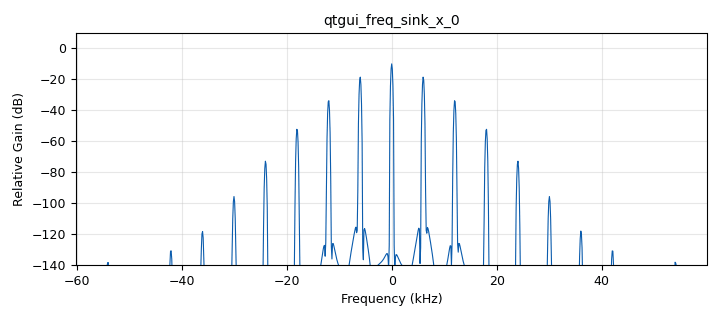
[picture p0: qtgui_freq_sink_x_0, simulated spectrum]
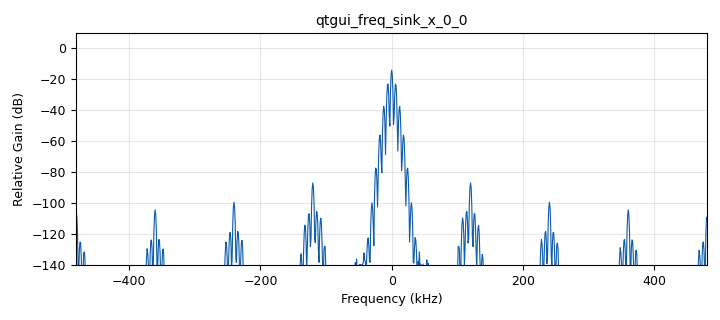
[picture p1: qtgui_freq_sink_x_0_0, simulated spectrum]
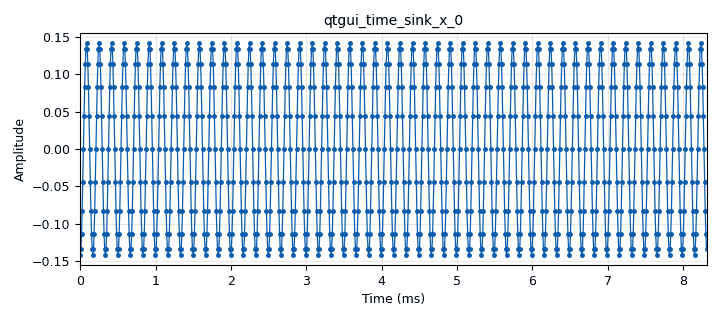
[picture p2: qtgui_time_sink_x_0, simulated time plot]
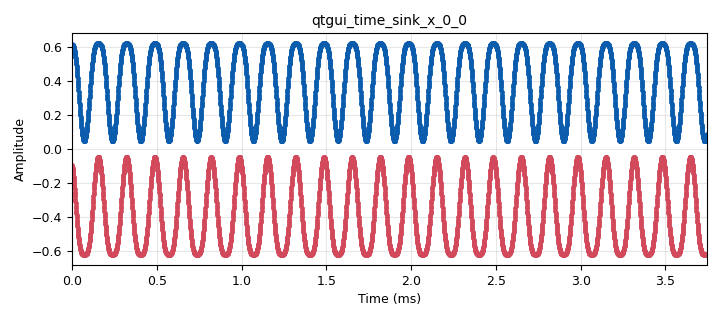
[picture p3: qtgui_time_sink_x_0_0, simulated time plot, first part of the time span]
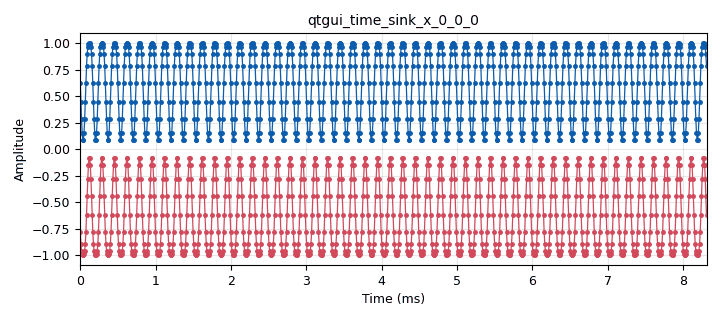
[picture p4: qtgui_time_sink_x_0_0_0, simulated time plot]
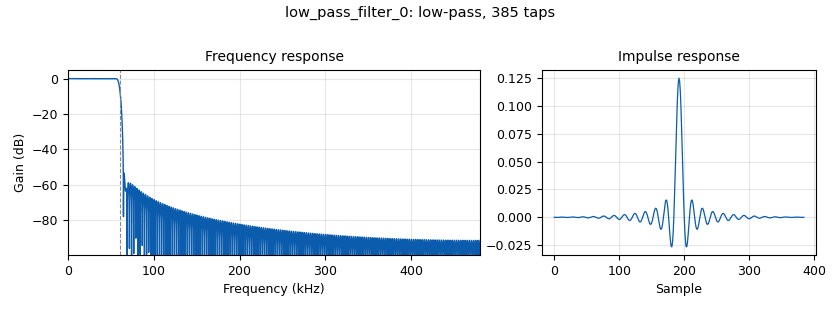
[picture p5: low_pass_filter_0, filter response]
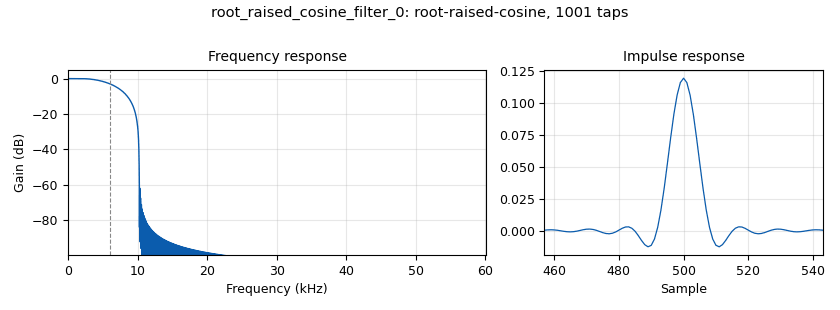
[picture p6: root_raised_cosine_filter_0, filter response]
<?xml version='1.0' encoding='utf-8'?>
<?grc format='1' created='3.7.13'?>
<flow_graph>
<block>
<key>options</key>
<param><key>id</key><value>telecommand_tx</value></param>
<param><key>generate_options</key><value>qt_gui</value></param>
</block>
<block>
<key>variable</key>
<param><key>id</key><value>bit_rate</value></param>
<param><key>value</key><value>12019</value></param>
</block>
<block>
<key>variable_qtgui_chooser</key>
<param><key>id</key><value>data_src</value></param>
<param><key>value</key><value>(0,1)</value></param>
<param><key>gui_hint</key><value>tab_ctrl@0</value></param>
<param><key>label0</key><value>Source</value></param>
<param><key>label1</key><value>Preamble</value></param>
<param><key>label</key><value>Data Source</value></param>
<param><key>num_opts</key><value>2</value></param>
<param><key>option0</key><value>(1,0)</value></param>
<param><key>option1</key><value>(0,1)</value></param>
<param><key>type</key><value>raw</value></param>
</block>
<block>
<key>variable_qtgui_range</key>
<param><key>id</key><value>fdev</value></param>
<param><key>value</key><value>bit_rate*rrc_inter/4</value></param>
<param><key>gui_hint</key><value>tab_ctrl@0</value></param>
<param><key>label</key><value>Frequency Deviation</value></param>
<param><key>min_len</key><value>1000</value></param>
<param><key>orient</key><value>Qt.Horizontal</value></param>
<param><key>start</key><value>100</value></param>
<param><key>step</key><value>1</value></param>
<param><key>stop</key><value>500000</value></param>
</block>
<block>
<key>variable</key>
<param><key>id</key><value>rrc_inter</value></param>
<param><key>value</key><value>10</value></param>
</block>
<block>
<key>variable_qtgui_range</key>
<param><key>id</key><value>tx_gain</value></param>
<param><key>value</key><value>1</value></param>
<param><key>gui_hint</key><value>tab_ctrl@0</value></param>
<param><key>label</key><value>TX Gain</value></param>
<param><key>min_len</key><value>1000</value></param>
<param><key>orient</key><value>Qt.Horizontal</value></param>
<param><key>start</key><value>0.01</value></param>
<param><key>step</key><value>0.01</value></param>
<param><key>stop</key><value>10</value></param>
</block>
<block>
<key>variable_qtgui_range</key>
<param><key>id</key><value>tx_gain2</value></param>
<param><key>value</key><value>5</value></param>
<param><key>gui_hint</key><value>tab_ctrl@0</value></param>
<param><key>label</key><value>TX Gain2</value></param>
<param><key>min_len</key><value>1000</value></param>
<param><key>orient</key><value>Qt.Horizontal</value></param>
<param><key>start</key><value>0.01</value></param>
<param><key>step</key><value>0.01</value></param>
<param><key>stop</key><value>10</value></param>
</block>
<block>
<key>analog_frequency_modulator_fc</key>
<param><key>id</key><value>analog_frequency_modulator_fc_0</value></param>
<param><key>sensitivity</key><value>fdev*6.28/(bit_rate*rrc_inter)</value></param>
</block>
<block>
<key>blocks_char_to_float</key>
<param><key>id</key><value>blocks_char_to_float_0</value></param>
<param><key>scale</key><value>1</value></param>
</block>
<block>
<key>blocks_char_to_float</key>
<param><key>id</key><value>blocks_char_to_float_1</value></param>
<param><key>_enabled</key><value>0</value></param>
<param><key>scale</key><value>1</value></param>
</block>
<block>
<key>blocks_char_to_float</key>
<param><key>id</key><value>blocks_char_to_float_1_0</value></param>
<param><key>scale</key><value>1</value></param>
</block>
<block>
<key>blocks_float_to_char</key>
<param><key>id</key><value>blocks_float_to_char_0</value></param>
<param><key>scale</key><value>1</value></param>
</block>
<block>
<key>blocks_multiply_const_vxx</key>
<param><key>id</key><value>blocks_multiply_const_vxx_0</value></param>
<param><key>const</key><value>tx_gain2</value></param>
<param><key>type</key><value>complex</value></param>
</block>
<block>
<key>blocks_multiply_const_vxx</key>
<param><key>id</key><value>blocks_multiply_const_vxx_0_0</value></param>
<param><key>const</key><value>tx_gain</value></param>
<param><key>type</key><value>float</value></param>
</block>
<block>
<key>blocks_repack_bits_bb</key>
<param><key>id</key><value>blocks_repack_bits_bb_0</value></param>
<param><key>k</key><value>8</value></param>
<param><key>l</key><value>1</value></param>
<param><key>endianness</key><value>gr.GR_MSB_FIRST</value></param>
</block>
<block>
<key>blocks_throttle</key>
<param><key>id</key><value>blocks_throttle_0</value></param>
<param><key>samples_per_second</key><value>bit_rate</value></param>
<param><key>type</key><value>byte</value></param>
</block>
<block>
<key>blocks_vector_source_x</key>
<param><key>id</key><value>blocks_vector_source_x_0</value></param>
<param><key>_enabled</key><value>0</value></param>
<param><key>type</key><value>byte</value></param>
<param><key>repeat</key><value>True</value></param>
<param><key>vector</key><value>[0xEB, 0x90, 0x3C] + range(0,251) + [0x55, 0x55, 0x55, 0x55]</value></param>
</block>
<block>
<key>blocks_vector_source_x</key>
<param><key>id</key><value>blocks_vector_source_x_0_0</value></param>
<param><key>type</key><value>byte</value></param>
<param><key>repeat</key><value>True</value></param>
<param><key>vector</key><value>[0x55, 0x55, 0x55, 0x55]</value></param>
</block>
<block>
<key>digital_map_bb</key>
<param><key>id</key><value>digital_map_bb_0</value></param>
<param><key>map</key><value>[-1,1]</value></param>
</block>
<block>
<key>iio_fmcomms2_sink</key>
<param><key>id</key><value>iio_fmcomms2_sink_0</value></param>
<param><key>attenuation1</key><value>10</value></param>
<param><key>buffer_size</key><value>0x8000</value></param>
<param><key>cyclic</key><value>False</value></param>
<param><key>auto_filter</key><value>True</value></param>
<param><key>uri</key><value>192.168.1.10</value></param>
<param><key>frequency</key><value>144100000</value></param>
<param><key>rf_port_select</key><value>"A"</value></param>
<param><key>bandwidth</key><value>100000</value></param>
<param><key>samplerate</key><value>bit_rate*rrc_inter*8</value></param>
<param><key>tx1_en</key><value>True</value></param>
<param><key>tx2_en</key><value>False</value></param>
</block>
<block>
<key>low_pass_filter</key>
<param><key>id</key><value>low_pass_filter_0</value></param>
<param><key>cutoff_freq</key><value>bit_rate*rrc_inter/2</value></param>
<param><key>type</key><value>interp_fir_filter_ccf</value></param>
<param><key>gain</key><value>1</value></param>
<param><key>interp</key><value>8</value></param>
<param><key>samp_rate</key><value>bit_rate*rrc_inter*8</value></param>
<param><key>width</key><value>bit_rate*rrc_inter/20</value></param>
<param><key>win</key><value>firdes.WIN_HAMMING</value></param>
</block>
<block>
<key>qtgui_freq_sink_x</key>
<param><key>id</key><value>qtgui_freq_sink_x_0</value></param>
<param><key>bw</key><value>bit_rate*rrc_inter</value></param>
<param><key>fc</key><value>0</value></param>
<param><key>fftsize</key><value>1024</value></param>
<param><key>gui_hint</key><value>tab_plot@1</value></param>
<param><key>legend</key><value>False</value></param>
<param><key>showports</key><value>True</value></param>
<param><key>type</key><value>complex</value></param>
<param><key>wintype</key><value>firdes.WIN_BLACKMAN_hARRIS</value></param>
</block>
<block>
<key>qtgui_freq_sink_x</key>
<param><key>id</key><value>qtgui_freq_sink_x_0_0</value></param>
<param><key>bw</key><value>bit_rate*rrc_inter*8</value></param>
<param><key>fc</key><value>0</value></param>
<param><key>fftsize</key><value>1024</value></param>
<param><key>gui_hint</key><value>tab_plot@2</value></param>
<param><key>legend</key><value>False</value></param>
<param><key>showports</key><value>True</value></param>
<param><key>type</key><value>complex</value></param>
<param><key>wintype</key><value>firdes.WIN_BLACKMAN_hARRIS</value></param>
</block>
<block>
<key>qtgui_time_sink_x</key>
<param><key>id</key><value>qtgui_time_sink_x_0</value></param>
<param><key>autoscale</key><value>True</value></param>
<param><key>ctrlpanel</key><value>True</value></param>
<param><key>gui_hint</key><value>tab_plot@0</value></param>
<param><key>legend</key><value>False</value></param>
<param><key>color1</key><value>"blue"</value></param>
<param><key>label1</key><value></value></param>
<param><key>marker1</key><value>2</value></param>
<param><key>size</key><value>1000</value></param>
<param><key>srate</key><value>bit_rate*rrc_inter</value></param>
<param><key>type</key><value>float</value></param>
</block>
<block>
<key>qtgui_time_sink_x</key>
<param><key>id</key><value>qtgui_time_sink_x_0_0</value></param>
<param><key>autoscale</key><value>True</value></param>
<param><key>ctrlpanel</key><value>True</value></param>
<param><key>gui_hint</key><value>tab_plot@2</value></param>
<param><key>legend</key><value>False</value></param>
<param><key>color1</key><value>"blue"</value></param>
<param><key>label1</key><value></value></param>
<param><key>marker1</key><value>2</value></param>
<param><key>color2</key><value>"red"</value></param>
<param><key>label2</key><value></value></param>
<param><key>marker2</key><value>2</value></param>
<param><key>size</key><value>1000*8</value></param>
<param><key>srate</key><value>bit_rate*rrc_inter*8</value></param>
<param><key>type</key><value>complex</value></param>
</block>
<block>
<key>qtgui_time_sink_x</key>
<param><key>id</key><value>qtgui_time_sink_x_0_0_0</value></param>
<param><key>autoscale</key><value>True</value></param>
<param><key>ctrlpanel</key><value>True</value></param>
<param><key>gui_hint</key><value>tab_plot@1</value></param>
<param><key>legend</key><value>False</value></param>
<param><key>color1</key><value>"blue"</value></param>
<param><key>label1</key><value></value></param>
<param><key>marker1</key><value>2</value></param>
<param><key>color2</key><value>"red"</value></param>
<param><key>label2</key><value></value></param>
<param><key>marker2</key><value>2</value></param>
<param><key>size</key><value>1000</value></param>
<param><key>srate</key><value>bit_rate*rrc_inter</value></param>
<param><key>type</key><value>complex</value></param>
</block>
<block>
<key>root_raised_cosine_filter</key>
<param><key>id</key><value>root_raised_cosine_filter_0</value></param>
<param><key>alpha</key><value>0.7</value></param>
<param><key>type</key><value>interp_fir_filter_fff</value></param>
<param><key>gain</key><value>1</value></param>
<param><key>interp</key><value>rrc_inter</value></param>
<param><key>ntaps</key><value>1000</value></param>
<param><key>samp_rate</key><value>bit_rate*rrc_inter</value></param>
<param><key>sym_rate</key><value>bit_rate</value></param>
</block>
<block>
<key>qtgui_tab_widget</key>
<param><key>id</key><value>tab_ctrl</value></param>
<param><key>gui_hint</key><value>@0:[0,0,4,1]</value></param>
<param><key>label0</key><value>Control</value></param>
<param><key>num_tabs</key><value>1</value></param>
</block>
<block>
<key>qtgui_tab_widget</key>
<param><key>id</key><value>tab_plot</value></param>
<param><key>gui_hint</key><value>@0:[0,1,4,3]</value></param>
<param><key>label0</key><value>Tab 0</value></param>
<param><key>label1</key><value>Tab 1</value></param>
<param><key>label2</key><value>Tab 2</value></param>
<param><key>label3</key><value>Tab 3</value></param>
<param><key>label4</key><value>Tab 4</value></param>
<param><key>num_tabs</key><value>5</value></param>
</block>
<connection><source_block_id>analog_frequency_modulator_fc_0</source_block_id><sink_block_id>low_pass_filter_0</sink_block_id><source_key>0</source_key><sink_key>0</sink_key></connection>
<connection><source_block_id>analog_frequency_modulator_fc_0</source_block_id><sink_block_id>qtgui_freq_sink_x_0</sink_block_id><source_key>0</source_key><sink_key>0</sink_key></connection>
<connection><source_block_id>analog_frequency_modulator_fc_0</source_block_id><sink_block_id>qtgui_time_sink_x_0_0_0</sink_block_id><source_key>0</source_key><sink_key>0</sink_key></connection>
<connection><source_block_id>blocks_char_to_float_0</source_block_id><sink_block_id>root_raised_cosine_filter_0</sink_block_id><source_key>0</source_key><sink_key>0</sink_key></connection>
<connection><source_block_id>blocks_char_to_float_1_0</source_block_id><sink_block_id>blocks_float_to_char_0</sink_block_id><source_key>0</source_key><sink_key>0</sink_key></connection>
<connection><source_block_id>blocks_float_to_char_0</source_block_id><sink_block_id>blocks_repack_bits_bb_0</sink_block_id><source_key>0</source_key><sink_key>0</sink_key></connection>
<connection><source_block_id>blocks_multiply_const_vxx_0</source_block_id><sink_block_id>iio_fmcomms2_sink_0</sink_block_id><source_key>0</source_key><sink_key>0</sink_key></connection>
<connection><source_block_id>blocks_multiply_const_vxx_0</source_block_id><sink_block_id>qtgui_freq_sink_x_0_0</sink_block_id><source_key>0</source_key><sink_key>0</sink_key></connection>
<connection><source_block_id>blocks_multiply_const_vxx_0</source_block_id><sink_block_id>qtgui_time_sink_x_0_0</sink_block_id><source_key>0</source_key><sink_key>0</sink_key></connection>
<connection><source_block_id>blocks_multiply_const_vxx_0_0</source_block_id><sink_block_id>analog_frequency_modulator_fc_0</sink_block_id><source_key>0</source_key><sink_key>0</sink_key></connection>
<connection><source_block_id>blocks_multiply_const_vxx_0_0</source_block_id><sink_block_id>qtgui_time_sink_x_0</sink_block_id><source_key>0</source_key><sink_key>0</sink_key></connection>
<connection><source_block_id>blocks_repack_bits_bb_0</source_block_id><sink_block_id>blocks_throttle_0</sink_block_id><source_key>0</source_key><sink_key>0</sink_key></connection>
<connection><source_block_id>blocks_throttle_0</source_block_id><sink_block_id>digital_map_bb_0</sink_block_id><source_key>0</source_key><sink_key>0</sink_key></connection>
<connection><source_block_id>blocks_vector_source_x_0</source_block_id><sink_block_id>blocks_char_to_float_1</sink_block_id><source_key>0</source_key><sink_key>0</sink_key></connection>
<connection><source_block_id>blocks_vector_source_x_0_0</source_block_id><sink_block_id>blocks_char_to_float_1_0</sink_block_id><source_key>0</source_key><sink_key>0</sink_key></connection>
<connection><source_block_id>digital_map_bb_0</source_block_id><sink_block_id>blocks_char_to_float_0</sink_block_id><source_key>0</source_key><sink_key>0</sink_key></connection>
<connection><source_block_id>low_pass_filter_0</source_block_id><sink_block_id>blocks_multiply_const_vxx_0</sink_block_id><source_key>0</source_key><sink_key>0</sink_key></connection>
<connection><source_block_id>root_raised_cosine_filter_0</source_block_id><sink_block_id>blocks_multiply_const_vxx_0_0</sink_block_id><source_key>0</source_key><sink_key>0</sink_key></connection>
</flow_graph>
